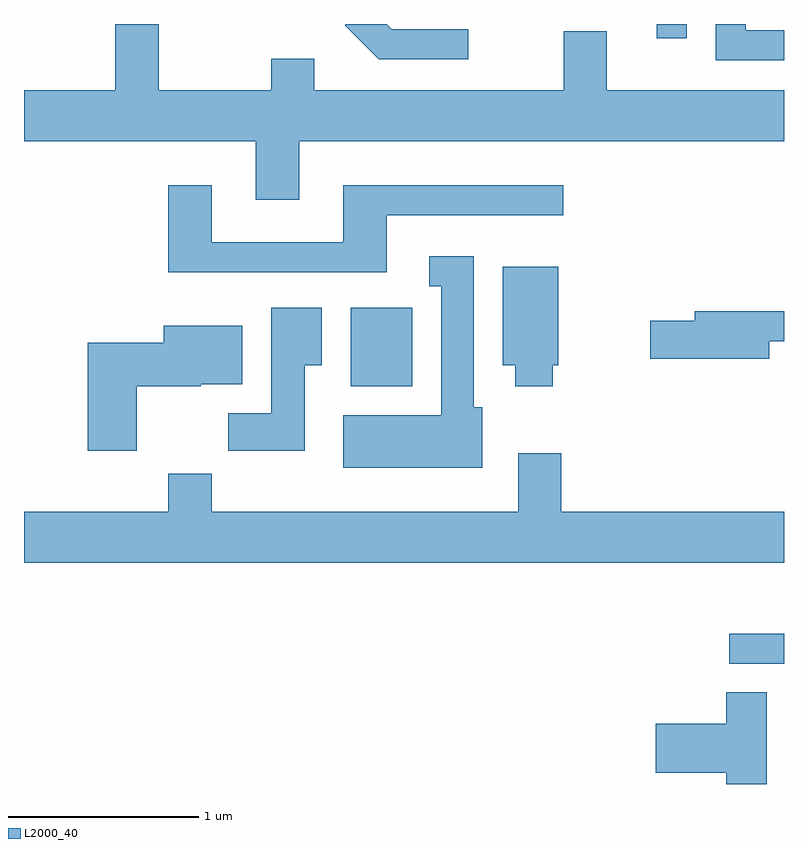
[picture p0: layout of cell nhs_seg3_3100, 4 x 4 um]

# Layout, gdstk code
import gdstk
lib = gdstk.Library(unit=1e-6, precision=1e-09)
def R(c, l, rs):  # rectangles x0, y0, x1, y1
    for r in rs: c.add(gdstk.rectangle(r[:2], r[2:], *l))
def P(c, l, *ps):  # polygons
    for p in ps: c.add(gdstk.Polygon(p, *l))
L2000_40 = (2000, 40)

nhs_seg3_3100 = lib.new_cell('nhs_seg3_3100')
R(nhs_seg3_3100, L2000_40, [(279.323,1196.526,279.611,1196.684), (277.331,1197.986,277.654,1198.399), (278.941,1199.818,279.099,1199.892)])
P(nhs_seg3_3100, L2000_40, [(277.059,1199.276),(279.611,1199.276),(279.611,1199.544),(278.679,1199.544),(278.679,1199.854),(278.451,1199.854),(278.451,1199.544),(277.139,1199.544),(277.139,1199.709),(276.911,1199.709),(276.911,1199.544),(276.319,1199.544),(276.319,1199.892),(276.091,1199.892),(276.091,1199.544),(275.611,1199.544),(275.611,1199.276),(276.831,1199.276),(276.831,1198.966),(277.059,1198.966)],
  [(279.611,1199.859),(279.409,1199.859),(279.409,1199.892),(279.251,1199.892),(279.251,1199.701),(279.611,1199.701)],
  [(277.948,1199.864),(277.547,1199.864),(277.519,1199.892),(277.301,1199.892),(277.301,1199.884),(277.479,1199.706),(277.948,1199.706)],
  [(277.519,1198.886),(278.448,1198.886),(278.448,1199.044),(277.291,1199.044),(277.291,1198.744),(276.599,1198.744),(276.599,1199.044),(276.371,1199.044),(276.371,1198.586),(277.519,1198.586)],
  [(278.024,1197.874),(277.979,1197.874),(277.979,1198.669),(277.743,1198.669),(277.743,1198.511),(277.806,1198.511),(277.806,1197.834),(277.291,1197.834),(277.291,1197.556),(278.024,1197.556)],
  [(278.394,1198.096),(278.424,1198.096),(278.424,1198.614),(278.131,1198.614),(278.131,1198.096),(278.196,1198.096),(278.196,1197.986),(278.394,1197.986)],
  [(277.089,1198.096),(277.179,1198.096),(277.179,1198.399),(276.911,1198.399),(276.911,1197.844),(276.686,1197.844),(276.686,1197.646),(277.089,1197.646)],
  [(279.534,1198.221),(279.611,1198.221),(279.611,1198.379),(279.141,1198.379),(279.141,1198.329),(278.906,1198.329),(278.906,1198.131),(279.534,1198.131)],
  [(276.204,1197.986),(276.54,1197.986),(276.54,1197.996),(276.759,1197.996),(276.759,1198.304),(276.346,1198.304),(276.346,1198.214),(275.946,1198.214),(275.946,1197.646),(276.204,1197.646)],
  [(279.611,1197.324),(278.439,1197.324),(278.439,1197.634),(278.211,1197.634),(278.211,1197.324),(276.599,1197.324),(276.599,1197.524),(276.371,1197.524),(276.371,1197.324),(275.611,1197.324),(275.611,1197.056),(279.611,1197.056)],
  [(279.519,1196.374),(279.306,1196.374),(279.306,1196.209),(278.936,1196.209),(278.936,1195.951),(279.306,1195.951),(279.306,1195.892),(279.519,1195.892)])

lib.write_gds('nhs_seg3_3100.gds')
